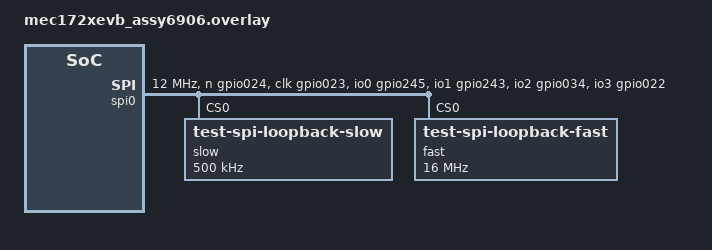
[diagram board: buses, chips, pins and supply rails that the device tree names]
/*
 * Copyright (c) 2022 Microchip Technology Inc.
 *
 * SPDX-License-Identifier: Apache-2.0
 */

&pinctrl {

	gpspi_cs_n_gpio024: gpspi_cs_n_gpio024 {
		pinmux = < MCHP_XEC_PINMUX(024, MCHP_AF1) >;
	};

	gpspi_clk_gpio023: gpspi_clk_gpio023 {
		pinmux = < MCHP_XEC_PINMUX(023, MCHP_AF1) >;
	};

	gpspi_io0_gpio245: gpspi_io0_gpio245 {
		pinmux = < MCHP_XEC_PINMUX(0245, MCHP_AF1) >;
	};

	gpspi_io1_gpio243: gpspi_io1_gpio243 {
		pinmux = < MCHP_XEC_PINMUX(0243, MCHP_AF1) >;
	};

	gpspi_io2_gpio034: gpspi_io2_gpio034 {
		pinmux = < MCHP_XEC_PINMUX(034, MCHP_AF1) >;
	};

	gpspi_io3_gpio022: gpspi_io3_gpio022 {
		pinmux = < MCHP_XEC_PINMUX(022, MCHP_AF1) >;
	};

};

&spi0 {
	status = "okay";
	compatible = "microchip,xec-qmspi-ldma";
	clock-frequency = <12000000>;
	lines = <1>;
	chip-select = <0>;

    pinctrl-0 = < &gpspi_cs_n_gpio024
    &gpspi_clk_gpio023
    &gpspi_io0_gpio245
    &gpspi_io1_gpio243
    &gpspi_io2_gpio034
    &gpspi_io3_gpio022 >;

	slow@0 {
		compatible = "test-spi-loopback-slow";
		reg = <0>;
		spi-max-frequency = <500000>;
	};
	fast@0 {
		compatible = "test-spi-loopback-fast";
		reg = <0>;
		spi-max-frequency = <16000000>;
	};
};
